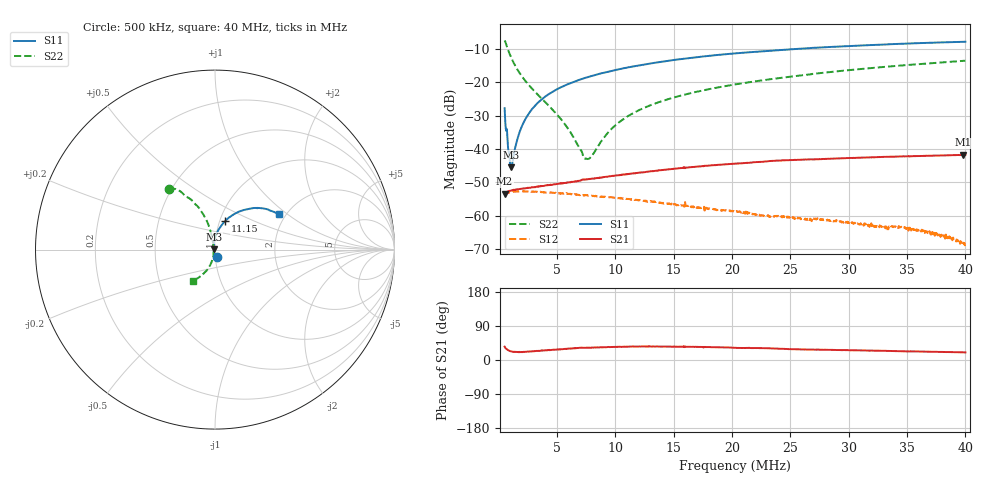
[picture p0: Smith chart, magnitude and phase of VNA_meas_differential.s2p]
! Differential S-parameters generated from single-ended measurements
# Hz S RI R 100
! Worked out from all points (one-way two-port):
!   1206 points, 500 kHz to 40 MHz, reference 100 ohm
!   highest |S21| = -41.78 dB at 39.84 MHz (marker M1); lowest = -53.5 dB at 500 kHz (marker M2)
!   lowest |S11| = -45.5 dB at 1.057 MHz (marker M3), VSWR 1.01, Z = 99 + j0.139 ohm
!   |S11| at or under -10 dB: start of sweep to 25.46 MHz
!   |S22| runs from -43.1 to -7.4 dB; largest |S21 - S12| = 0.0079
!   S11 on the Smith chart (normalised r, x): 500 kHz: 1.01, -0.08; 11.15 MHz: 1.06, +0.35; 40 MHz: 1.84, +0.86
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500000  0.00878 -0.0399  0.00173 0.00123  0.00174 0.00102  -0.2568 0.3382
926140  -0.00587 -0.00416  0.00213 0.000952  0.00215 0.000596  -0.1031 0.2471
1057260  -0.00524 0.0007  0.00218 0.00093  0.00218 0.000512  -0.0816 0.2222
1188380  -0.00501 0.00439  0.00223 0.000904  0.00222 0.000429  -0.0676 0.1997
1581740  -0.00528 0.0129  0.00231 0.000892  0.00229 0.000273  -0.0418 0.1512
1942320  -0.00613 0.0202  0.00235 0.000885  0.0023 0.00012  -0.0307 0.1218
2401240  -0.00651 0.0298  0.00239 0.000968  0.00228 1.79e-06  -0.023 0.0959
2958500  -0.006 0.0413  0.00245 0.00103  0.0023 -0.000122  -0.0181 0.0744
4073020  -0.00161 0.0627  0.00256 0.00123  0.00218 -0.000318  -0.0126 0.0469
5515340  0.00742 0.0869  0.00266 0.00146  0.0021 -0.000463  -0.00895 0.0238
7088780  0.0193 0.1101  0.00289 0.00184  0.00196 -0.000547  -0.00754 0.00558
7416580  0.0219 0.1144  0.00294 0.00184  0.00194 -0.000583  -0.00694 0.00168
7809940  0.0253 0.1194  0.00299 0.00192  0.00188 -0.000608  -0.00696 -0.00211
9481720  0.0402 0.1402  0.00321 0.00219  0.00175 -0.000691  -0.00718 -0.017
1.11535e7  0.0561 0.1585  0.00343 0.00243  0.00161 -0.000732  -0.00844 -0.0305
1.367756e7  0.0836 0.1824  0.00389 0.00278  0.00136 -0.000778  -0.0121 -0.0487
2.026634e7  0.1592 0.2207  0.00509 0.0032  0.000962 -0.000654  -0.0279 -0.0889
2.685512e7  0.2335 0.2315  0.00618 0.00324  0.000783 -0.000489  -0.053 -0.123
3.34439e7  0.3015 0.2204  0.00697 0.00309  0.000577 -0.000369  -0.0835 -0.1516
3.62302e7  0.3259 0.2109  0.00725 0.00295  0.000502 -0.000328  -0.0985 -0.1611
3.9836e7  0.3546 0.1965  0.00766 0.0028  0.000322 -0.000212  -0.1194 -0.173
3.99999e7  0.3557 0.1958  0.00764 0.00279  0.000327 -0.000198  -0.1203 -0.1734
